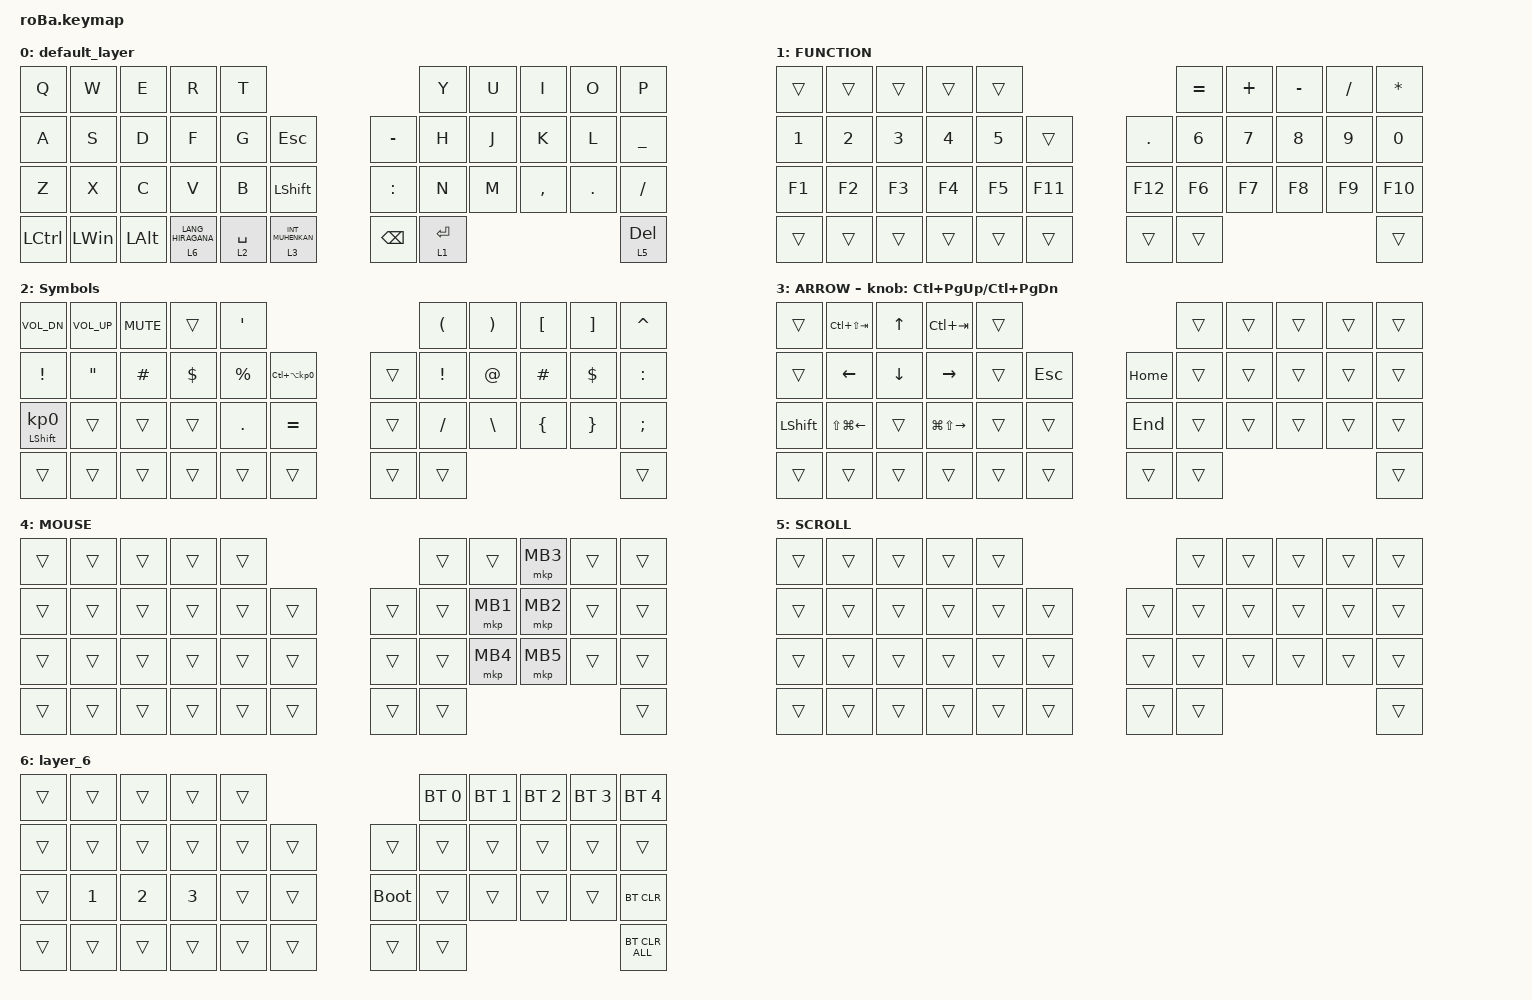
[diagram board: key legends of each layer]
#include <behaviors.dtsi>
#include <dt-bindings/zmk/bt.h>
#include <dt-bindings/zmk/keys.h>
#include <dt-bindings/zmk/pointing.h>

&mt {
    flavor = "balanced";
    quick-tap-ms = <0>;
};

&trackball {
    automouse-layer = <4>;
    scroll-layers = <5>;

    // arrows {
    //     layers = <3>;
    //     bindings =
    //         <&kp RIGHT_ARROW>,
    //         <&kp LEFT_ARROW>,
    //         <&kp UP_ARROW>,
    //         <&kp DOWN_ARROW>;
    //     tick = <10>;
    //     wait-ms = <5>;
    //     tap-ms = <5>;
    // };
};

/ {
    combos {
        compatible = "zmk,combos";

        tab {
            bindings = <&kp TAB>;
            key-positions = <11 12>;
        };

        shift_tab {
            bindings = <&kp LS(TAB)>;
            key-positions = <12 13>;
        };

        double_quotation {
            bindings = <&kp DOUBLE_QUOTES>;
            key-positions = <20 21>;
        };

        eq {
            bindings = <&kp EQUAL>;
            key-positions = <24 25>;
        };
    };

    macros {
        to_layer_0: to_layer_0 {
            compatible = "zmk,behavior-macro-one-param";
            #binding-cells = <1>;
            bindings = <&to 0 &macro_param_1to1 &kp MACRO_PLACEHOLDER>;
            label = "TO_LAYER_0";
        };
    };

    behaviors {
        lt_to_layer_0: lt_to_layer_0 {
            compatible = "zmk,behavior-hold-tap";
            label = "LAYER_TAP_TO_0";
            bindings = <&mo>, <&to_layer_0>;

            #binding-cells = <2>;
            tapping-term-ms = <200>;
        };
    };

    keymap {
        compatible = "zmk,keymap";

        default_layer {
            bindings = <
&kp Q      &kp W         &kp E         &kp R                           &kp T                                                          &kp Y        &kp U  &kp I      &kp O    &kp P
&kp A      &kp S         &kp D         &kp F                           &kp G        &kp ESCAPE                         &kp MINUS      &kp H        &kp J  &kp K      &kp L    &kp UNDERSCORE
&kp Z      &kp X         &kp C         &kp V                           &kp B        &kp LEFT_SHIFT                     &kp COLON      &kp N        &kp M  &kp COMMA  &kp DOT  &kp SLASH
&kp LCTRL  &kp LEFT_WIN  &kp LEFT_ALT  &lt_to_layer_0 6 LANG_HIRAGANA  &lt 2 SPACE  &lt_to_layer_0 3 INT_MUHENKAN      &kp BACKSPACE  &lt 1 ENTER                             &lt 5 DEL
            >;
        };

        FUNCTION {
            bindings = <
&trans        &trans        &trans        &trans        &trans                           &kp EQUAL     &kp PLUS  &kp MINUS  &kp SLASH  &kp ASTERISK
&kp NUMBER_1  &kp NUMBER_2  &kp NUMBER_3  &kp NUMBER_4  &kp N5  &trans       &kp PERIOD  &kp NUMBER_6  &kp N7    &kp N8     &kp N9     &kp N0
&kp F1        &kp F2        &kp F3        &kp F4        &kp F5  &kp F11      &kp F12     &kp F6        &kp F7    &kp F8     &kp F9     &kp F10
&trans        &trans        &trans        &trans        &trans  &trans       &trans      &trans                                        &trans
            >;
        };

        Symbols {
            bindings = <
&kp C_VOL_DN                &kp C_VOL_UP       &kp K_MUTE  &trans      &kp SQT                                           &kp LEFT_PARENTHESIS  &kp RIGHT_PARENTHESIS  &kp LEFT_BRACKET  &kp RIGHT_BRACKET  &kp CARET
&kp EXCLAMATION             &kp DOUBLE_QUOTES  &kp HASH    &kp DOLLAR  &kp PERCENT  &kp LC(LA(KP_NUMBER_0))      &trans  &kp EXCLAMATION       &kp AT_SIGN            &kp HASH          &kp DOLLAR         &kp COLON
&mt LEFT_SHIFT KP_NUMBER_0  &trans             &trans      &trans      &kp PERIOD   &kp EQUAL                    &trans  &kp FSLH              &kp BACKSLASH          &kp LEFT_BRACE    &kp RIGHT_BRACE    &kp SEMICOLON
&trans                      &trans             &trans      &trans      &trans       &trans                       &trans  &trans                                                                            &trans
            >;
        };

        ARROW {
            bindings = <
&trans          &kp LC(LS(TAB))         &kp UP_ARROW    &kp LC(TAB)              &trans                            &trans  &trans  &trans  &trans  &trans
&trans          &kp LEFT_ARROW          &kp DOWN_ARROW  &kp RIGHT_ARROW          &trans  &kp ESCAPE      &kp HOME  &trans  &trans  &trans  &trans  &trans
&kp LEFT_SHIFT  &kp LS(LG(LEFT_ARROW))  &trans          &kp LG(LS(RIGHT_ARROW))  &trans  &trans          &kp END   &trans  &trans  &trans  &trans  &trans
&trans          &trans                  &trans          &trans                   &trans  &trans          &trans    &trans                          &trans
            >;

            sensor-bindings = <&inc_dec_kp LC(PAGE_UP) LC(PAGE_DOWN)>;
        };

        MOUSE {
            bindings = <
&trans  &trans  &trans  &trans  &trans                      &trans  &trans    &mkp MB3  &trans  &trans
&trans  &trans  &trans  &trans  &trans  &trans      &trans  &trans  &mkp MB1  &mkp MB2  &trans  &trans
&trans  &trans  &trans  &trans  &trans  &trans      &trans  &trans  &mkp MB4  &mkp MB5  &trans  &trans
&trans  &trans  &trans  &trans  &trans  &trans      &trans  &trans                              &trans
            >;
        };

        SCROLL {
            bindings = <
&trans  &trans  &trans  &trans  &trans                      &trans  &trans  &trans  &trans  &trans
&trans  &trans  &trans  &trans  &trans  &trans      &trans  &trans  &trans  &trans  &trans  &trans
&trans  &trans  &trans  &trans  &trans  &trans      &trans  &trans  &trans  &trans  &trans  &trans
&trans  &trans  &trans  &trans  &trans  &trans      &trans  &trans                          &trans
            >;
        };

        layer_6 {
            bindings = <
&trans  &trans        &trans        &trans        &trans                           &bt BT_SEL 0  &bt BT_SEL 1  &bt BT_SEL 2  &bt BT_SEL 3  &bt BT_SEL 4
&trans  &trans        &trans        &trans        &trans  &trans      &trans       &trans        &trans        &trans        &trans        &trans
&trans  &kp NUMBER_1  &kp NUMBER_2  &kp NUMBER_3  &trans  &trans      &bootloader  &trans        &trans        &trans        &trans        &bt BT_CLR
&trans  &trans        &trans        &trans        &trans  &trans      &trans       &trans                                                  &bt BT_CLR_ALL
            >;
        };
    };
};
